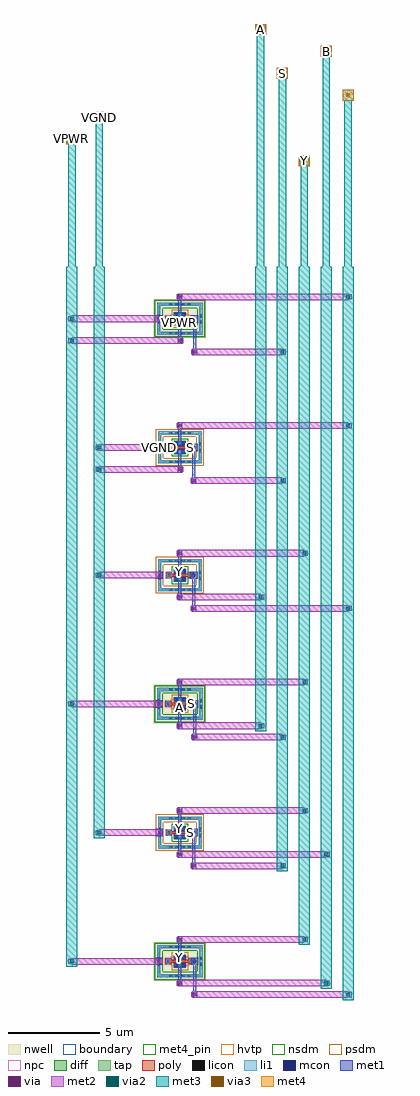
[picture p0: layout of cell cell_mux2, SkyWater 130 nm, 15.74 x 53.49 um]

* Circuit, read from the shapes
.subckt cell_mux2 A B S SB VGND VPWR Y
XM1 Y S B VGND sky130_fd_pr__nfet_01v8 w=0.65 l=0.15
XM2 Y SB A VGND sky130_fd_pr__nfet_01v8 w=0.65 l=0.15
XM3 SB S VGND VGND sky130_fd_pr__nfet_01v8 w=0.65 l=0.15
XM4 Y SB B VPWR sky130_fd_pr__pfet_01v8_hvt w=0.65 l=0.15
XM5 Y S A VPWR sky130_fd_pr__pfet_01v8_hvt w=0.65 l=0.15
XM6 SB S VPWR VPWR sky130_fd_pr__pfet_01v8_hvt w=0.65 l=0.15
.ends

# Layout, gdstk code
import gdstk
lib = gdstk.Library(unit=1e-6, precision=1e-09)
def R(c, l, rs):  # rectangles x0, y0, x1, y1
    for r in rs: c.add(gdstk.rectangle(r[:2], r[2:], *l))
def A(c, l, x, y, w, h, nx, ny, dx, dy):  # array of equal rectangles
    R(c, l, [(x+i*dx, y+j*dy, x+i*dx+w, y+j*dy+h) for i in range(nx) for j in range(ny)])
nwell = (64, 20)
diff = (65, 20)
tap = (65, 44)
poly = (66, 20)
licon = (66, 44)
li1 = (67, 20)
mcon = (67, 44)
met1 = (68, 20)
via = (68, 44)
met2 = (69, 20)
via2 = (69, 44)
met3 = (70, 20)
via3 = (70, 44)
met4_pin = (71, 16)
met4 = (71, 20)
hvtp = (78, 44)
nsdm = (93, 44)
psdm = (94, 20)
npc = (95, 20)
boundary = (235, 4)

cell_mux2 = lib.new_cell('cell_mux2')
R(cell_mux2, nwell, [(14.8,11.065,17.64,13.175), (14.8,25.175,17.64,27.285), (14.8,46.285,17.64,48.395)])
A(cell_mux2, diff, 15.895, 11.755, 0.65, 0.73, 1, 4, 0, 7.055)
R(cell_mux2, diff, [(15.895,39.92,16.545,40.65), (15.895,46.975,16.545,47.705)])
R(cell_mux2, tap, [(14.98,11.245,15.15,12.995), (15.15,11.245,17.29,11.415), (17.29,11.245,17.46,12.995), (15.15,12.825,17.29,12.995), (15.025,18.3,15.195,20.05), (15.195,18.3,17.245,18.47), (17.245,18.3,17.415,20.05), (15.195,19.88,17.245,20.05), (14.98,25.355,15.15,27.105), (15.15,25.355,17.29,25.525), (17.29,25.355,17.46,27.105), (15.15,26.935,17.29,27.105), (15.025,32.41,15.195,34.16), (15.195,32.41,17.245,32.58), (17.245,32.41,17.415,34.16), (15.195,33.99,17.245,34.16), (15.025,39.41,15.195,41.16), (15.195,39.41,17.245,39.58), (17.245,39.41,17.415,41.16), (15.195,40.99,17.245,41.16), (14.98,46.465,15.15,48.215), (15.15,46.465,17.29,46.635), (17.29,46.465,17.46,48.215), (15.15,48.045,17.29,48.215)])
R(cell_mux2, poly, [(15.41,11.955,15.74,12.285), (16.7,11.955,17.03,12.285), (15.74,12.045,16.7,12.195), (15.455,19.01,15.785,19.34), (16.655,19.01,16.985,19.34), (15.785,19.1,16.655,19.25), (15.41,26.065,15.74,26.395), (16.7,26.065,17.03,26.395), (15.74,26.155,16.7,26.305), (15.455,33.12,15.785,33.45), (16.655,33.12,16.985,33.45), (15.785,33.21,16.655,33.36), (15.455,40.12,15.785,40.45), (16.655,40.12,16.985,40.45), (15.785,40.21,16.655,40.36), (15.41,47.175,15.74,47.505), (16.7,47.175,17.03,47.505), (15.74,47.265,16.7,47.415)])
A(cell_mux2, licon, 15.625, 11.245, 0.17, 0.17, 4, 2, 0.34, 1.58)
A(cell_mux2, licon, 15.625, 18.3, 0.17, 0.17, 4, 2, 0.34, 1.58)
A(cell_mux2, licon, 15.625, 25.355, 0.17, 0.17, 4, 2, 0.34, 1.58)
A(cell_mux2, licon, 15.625, 32.41, 0.17, 0.17, 4, 2, 0.34, 1.58)
A(cell_mux2, licon, 15.625, 39.41, 0.17, 0.17, 4, 2, 0.34, 1.58)
A(cell_mux2, licon, 15.625, 46.465, 0.17, 0.17, 4, 2, 0.34, 1.58)
R(cell_mux2, licon, [(15.965,11.815,16.135,11.985), (16.305,11.815,16.475,11.985), (14.98,11.865,15.15,12.035), (17.29,11.865,17.46,12.035), (15.49,12.035,15.66,12.205), (16.78,12.035,16.95,12.205), (14.98,12.205,15.15,12.375), (17.29,12.205,17.46,12.375), (15.965,12.255,16.135,12.425), (16.305,12.255,16.475,12.425), (15.965,18.87,16.135,19.04), (16.305,18.87,16.475,19.04), (15.025,18.92,15.195,19.09), (17.245,18.92,17.415,19.09), (15.535,19.09,15.705,19.26), (16.735,19.09,16.905,19.26), (15.025,19.26,15.195,19.43), (17.245,19.26,17.415,19.43), (15.965,19.31,16.135,19.48), (16.305,19.31,16.475,19.48), (15.965,25.925,16.135,26.095), (16.305,25.925,16.475,26.095), (14.98,25.975,15.15,26.145), (17.29,25.975,17.46,26.145), (15.49,26.145,15.66,26.315), (16.78,26.145,16.95,26.315), (14.98,26.315,15.15,26.485), (17.29,26.315,17.46,26.485), (15.965,26.365,16.135,26.535), (16.305,26.365,16.475,26.535), (15.965,32.98,16.135,33.15), (16.305,32.98,16.475,33.15), (15.025,33.03,15.195,33.2), (17.245,33.03,17.415,33.2), (15.535,33.2,15.705,33.37), (16.735,33.2,16.905,33.37), (15.025,33.37,15.195,33.54), (17.245,33.37,17.415,33.54), (15.965,33.42,16.135,33.59), (16.305,33.42,16.475,33.59), (15.965,39.98,16.135,40.15), (16.305,39.98,16.475,40.15), (15.025,40.03,15.195,40.2), (17.245,40.03,17.415,40.2), (15.535,40.2,15.705,40.37), (16.735,40.2,16.905,40.37), (15.025,40.37,15.195,40.54), (17.245,40.37,17.415,40.54), (15.965,40.42,16.135,40.59), (16.305,40.42,16.475,40.59), (15.965,47.035,16.135,47.205), (16.305,47.035,16.475,47.205), (14.98,47.085,15.15,47.255), (17.29,47.085,17.46,47.255), (15.49,47.255,15.66,47.425), (16.78,47.255,16.95,47.425), (14.98,47.425,15.15,47.595), (17.29,47.425,17.46,47.595), (15.965,47.475,16.135,47.645), (16.305,47.475,16.475,47.645)])
R(cell_mux2, li1, [(14.98,11.245,15.15,12.995), (15.15,11.245,17.29,11.415), (17.29,11.245,17.46,12.995), (15.875,11.815,16.565,11.985), (15.49,11.955,15.66,12.285), (16.78,11.955,16.95,12.285), (16.78,12.035,17.12,12.205), (15.875,12.255,16.565,12.425), (15.15,12.825,17.29,12.995), (15.025,18.3,15.195,20.05), (15.195,18.3,17.245,18.47), (17.245,18.3,17.415,20.05), (15.875,18.87,16.565,19.04), (15.535,19.01,15.705,19.34), (16.735,19.01,16.905,19.34), (16.735,19.09,17.075,19.26), (15.875,19.31,16.565,19.48), (15.195,19.88,17.245,20.05), (14.98,25.355,15.15,27.105), (15.15,25.355,17.29,25.525), (17.29,25.355,17.46,27.105), (15.875,25.925,16.565,26.095), (15.49,26.065,15.66,26.395), (16.78,26.065,16.95,26.395), (16.78,26.145,17.12,26.315), (15.875,26.365,16.565,26.535), (15.15,26.935,17.29,27.105), (15.025,32.41,15.195,34.16), (15.195,32.41,17.245,32.58), (17.245,32.41,17.415,34.16), (15.875,32.98,16.565,33.15), (15.535,33.12,15.705,33.45), (16.735,33.12,16.905,33.45), (16.735,33.2,17.075,33.37), (15.875,33.42,16.565,33.59), (15.195,33.99,17.245,34.16), (15.025,39.41,15.195,41.16), (15.195,39.41,17.245,39.58), (17.245,39.41,17.415,41.16), (15.875,39.98,16.565,40.15), (15.535,40.12,15.705,40.45), (16.735,40.12,16.905,40.45), (16.735,40.2,17.075,40.37), (15.875,40.42,16.565,40.59), (15.195,40.99,17.245,41.16), (14.98,46.465,15.15,48.215), (15.15,46.465,17.29,46.635), (17.29,46.465,17.46,48.215), (15.875,47.035,16.565,47.205), (15.49,47.175,15.66,47.505), (16.78,47.175,16.95,47.505), (16.78,47.255,17.12,47.425), (15.875,47.475,16.565,47.645), (15.15,48.045,17.29,48.215)])
R(cell_mux2, mcon, [(15.955,11.815,16.125,11.985), (16.315,11.815,16.485,11.985), (14.98,12.035,15.15,12.205), (16.95,12.035,17.12,12.205), (15.955,12.255,16.125,12.425), (16.315,12.255,16.485,12.425), (15.955,18.87,16.125,19.04), (16.315,18.87,16.485,19.04), (15.025,19.09,15.195,19.26), (16.905,19.09,17.075,19.26), (15.955,19.31,16.125,19.48), (16.315,19.31,16.485,19.48), (15.955,25.925,16.125,26.095), (16.315,25.925,16.485,26.095), (14.98,26.145,15.15,26.315), (16.95,26.145,17.12,26.315), (15.955,26.365,16.125,26.535), (16.315,26.365,16.485,26.535), (15.955,32.98,16.125,33.15), (16.315,32.98,16.485,33.15), (15.025,33.2,15.195,33.37), (16.905,33.2,17.075,33.37), (15.955,33.42,16.125,33.59), (16.315,33.42,16.485,33.59), (15.955,39.98,16.125,40.15), (16.315,39.98,16.485,40.15), (15.025,40.2,15.195,40.37), (16.905,40.2,17.075,40.37), (15.955,40.42,16.125,40.59), (16.315,40.42,16.485,40.59), (15.955,47.035,16.125,47.205), (16.315,47.035,16.485,47.205), (14.98,47.255,15.15,47.425), (16.95,47.255,17.12,47.425), (15.955,47.475,16.125,47.645), (16.315,47.475,16.485,47.645)])
R(cell_mux2, met1, [(16.905,10.12,17.165,10.48), (16.95,10.3,17.12,12.12), (16.09,10.74,16.35,11.1), (16.135,10.92,16.305,11.9), (15.895,11.785,16.545,12.015), (14.865,11.92,15.265,12.32), (16.835,11.92,17.235,12.32), (14.935,11.94,15.195,12.3), (15.895,12.225,16.545,12.455), (16.135,12.34,16.305,13.32), (16.09,13.14,16.35,13.5), (16.86,17.175,17.12,17.535), (16.905,17.355,17.075,19.175), (16.09,17.795,16.35,18.155), (16.135,17.975,16.305,18.955), (15.895,18.84,16.545,19.07), (14.91,18.975,15.31,19.375), (16.79,18.975,17.19,19.375), (14.98,18.995,15.24,19.355), (15.895,19.28,16.545,19.51), (16.135,19.395,16.305,20.375), (16.09,20.195,16.35,20.555), (16.905,24.23,17.165,24.59), (16.95,24.41,17.12,26.23), (16.09,24.85,16.35,25.21), (16.135,25.03,16.305,26.01), (15.895,25.895,16.545,26.125), (14.865,26.03,15.265,26.43), (16.835,26.03,17.235,26.43), (14.935,26.05,15.195,26.41), (15.895,26.335,16.545,26.565), (16.135,26.45,16.305,27.43), (16.09,27.25,16.35,27.61), (16.86,31.285,17.12,31.645), (16.905,31.465,17.075,33.285), (16.09,31.905,16.35,32.265), (16.135,32.085,16.305,33.065), (15.895,32.95,16.545,33.18), (14.91,33.085,15.31,33.485), (16.79,33.085,17.19,33.485), (14.98,33.105,15.24,33.465), (15.895,33.39,16.545,33.62), (16.135,33.505,16.305,34.485), (16.09,34.305,16.35,34.665), (16.86,38.285,17.12,38.645), (16.905,38.465,17.075,40.285), (16.09,38.905,16.35,39.265), (16.135,39.085,16.305,40.065), (15.895,39.95,16.545,40.18), (14.91,40.085,15.31,40.485), (16.79,40.085,17.19,40.485), (14.98,40.105,15.24,40.465), (15.895,40.39,16.545,40.62), (16.135,40.505,16.305,41.485), (16.09,41.305,16.35,41.665), (16.905,45.34,17.165,45.7), (16.95,45.52,17.12,47.34), (16.09,45.96,16.35,46.32), (16.135,46.14,16.305,47.12), (15.895,47.005,16.545,47.235), (14.865,47.14,15.265,47.54), (16.835,47.14,17.235,47.54), (14.935,47.16,15.195,47.52), (15.895,47.445,16.545,47.675), (16.135,47.56,16.305,48.54), (16.09,48.36,16.35,48.72)])
R(cell_mux2, via, [(16.96,10.225,17.11,10.375), (16.145,10.845,16.295,10.995), (14.99,12.045,15.14,12.195), (16.145,13.245,16.295,13.395), (16.915,17.28,17.065,17.43), (16.145,17.9,16.295,18.05), (15.035,19.1,15.185,19.25), (16.145,20.3,16.295,20.45), (16.96,24.335,17.11,24.485), (16.145,24.955,16.295,25.105), (14.99,26.155,15.14,26.305), (16.145,27.355,16.295,27.505), (16.915,31.39,17.065,31.54), (16.145,32.01,16.295,32.16), (15.035,33.21,15.185,33.36), (16.145,34.41,16.295,34.56), (16.915,38.39,17.065,38.54), (16.145,39.01,16.295,39.16), (15.035,40.21,15.185,40.36), (16.145,41.41,16.295,41.56), (16.96,45.445,17.11,45.595), (16.145,46.065,16.295,46.215), (14.99,47.265,15.14,47.415), (16.145,48.465,16.295,48.615)])
A(cell_mux2, met2, 16.22, 13.14, 6.82, 0.36, 1, 4, 0, 7.055)
A(cell_mux2, met2, 22.85, 13.18, 0.38, 0.28, 1, 4, 0, 7.055)
R(cell_mux2, met2, [(17.035,10.12,25.44,10.48), (25.25,10.16,25.63,10.44), (16.855,10.17,17.215,10.43), (16.22,10.74,24.24,11.1), (24.05,10.78,24.43,11.06), (16.04,10.79,16.4,11.05), (10.3,11.94,15.065,12.3), (10.11,11.98,10.49,12.26), (14.885,11.99,15.245,12.25), (16.04,13.19,16.4,13.45), (16.99,17.175,21.84,17.535), (21.65,17.215,22.03,17.495), (16.81,17.225,17.17,17.485), (16.22,17.795,24.24,18.155), (24.05,17.835,24.43,18.115), (16.04,17.845,16.4,18.105), (11.8,18.995,15.11,19.355), (11.61,19.035,11.99,19.315), (14.93,19.045,15.29,19.305), (16.04,20.245,16.4,20.505), (17.035,24.23,21.84,24.59), (21.65,24.27,22.03,24.55), (16.855,24.28,17.215,24.54), (16.22,24.85,20.64,25.21), (20.45,24.89,20.83,25.17), (16.04,24.9,16.4,25.16), (10.3,26.05,15.065,26.41), (10.11,26.09,10.49,26.37), (14.885,26.1,15.245,26.36), (16.04,27.3,16.4,27.56), (16.99,31.285,25.44,31.645), (25.25,31.325,25.63,31.605), (16.81,31.335,17.17,31.595), (16.22,31.905,20.64,32.265), (20.45,31.945,20.83,32.225), (16.04,31.955,16.4,32.215), (11.8,33.105,15.11,33.465), (11.61,33.145,11.99,33.425), (14.93,33.155,15.29,33.415), (16.04,34.355,16.4,34.615), (16.99,38.285,21.84,38.645), (21.65,38.325,22.03,38.605), (16.81,38.335,17.17,38.595), (11.8,38.905,16.22,39.265), (11.61,38.945,11.99,39.225), (16.04,38.955,16.4,39.215), (11.8,40.105,15.11,40.465), (11.61,40.145,11.99,40.425), (14.93,40.155,15.29,40.415), (16.22,41.305,25.44,41.665), (25.25,41.345,25.63,41.625), (16.04,41.355,16.4,41.615), (17.035,45.34,21.84,45.7), (21.65,45.38,22.03,45.66), (16.855,45.39,17.215,45.65), (10.3,45.96,16.22,46.32), (10.11,46,10.49,46.28), (16.04,46.01,16.4,46.27), (10.3,47.16,15.065,47.52), (10.11,47.2,10.49,47.48), (14.885,47.21,15.245,47.47), (16.22,48.36,25.44,48.72), (25.25,48.4,25.63,48.68), (16.04,48.41,16.4,48.67)])
A(cell_mux2, via2, 22.94, 13.22, 0.2, 0.2, 1, 4, 0, 7.055)
R(cell_mux2, via2, [(25.34,10.2,25.54,10.4), (24.14,10.82,24.34,11.02), (10.2,12.02,10.4,12.22), (21.74,17.255,21.94,17.455), (24.14,17.875,24.34,18.075), (11.7,19.075,11.9,19.275), (21.74,24.31,21.94,24.51), (20.54,24.93,20.74,25.13), (10.2,26.13,10.4,26.33), (25.34,31.365,25.54,31.565), (20.54,31.985,20.74,32.185), (11.7,33.185,11.9,33.385), (21.74,38.365,21.94,38.565), (11.7,38.985,11.9,39.185), (11.7,40.185,11.9,40.385), (25.34,41.385,25.54,41.585), (21.74,45.42,21.94,45.62), (10.2,46.04,10.4,46.24), (10.2,47.24,10.4,47.44), (25.34,48.44,25.54,48.64)])
A(cell_mux2, met3, 22.79, 13.07, 0.5, 0.5, 1, 4, 0, 7.055)
R(cell_mux2, met3, [(25.14,10,25.74,50.195), (25.19,10.05,25.69,10.55), (23.94,10.62,24.54,50.195), (23.99,10.67,24.49,11.17), (10,11.82,10.6,50.195), (10.05,11.87,10.55,12.37), (22.74,13.02,23.34,50.195), (21.54,17.055,22.14,50.195), (21.59,17.105,22.09,17.605), (23.99,17.725,24.49,18.225), (11.5,18.875,12.1,50.195), (11.55,18.925,12.05,19.425), (21.59,24.16,22.09,24.66), (20.34,24.73,20.94,50.195), (20.39,24.78,20.89,25.28), (10.05,25.98,10.55,26.48), (25.19,31.215,25.69,31.715), (20.39,31.835,20.89,32.335), (11.55,33.035,12.05,33.535), (21.59,38.215,22.09,38.715), (11.55,38.835,12.05,39.335), (11.55,40.035,12.05,40.535), (25.19,41.235,25.69,41.735), (21.59,45.27,22.09,45.77), (10.05,45.89,10.55,46.39), (10.05,47.09,10.55,47.59), (25.19,48.29,25.69,48.79), (22.74,55.695,23.34,56.295), (10,56.895,10.6,57.495), (11.5,58.095,12.1,58.695), (25.14,59.295,25.74,59.895), (21.54,60.495,22.14,61.095), (23.94,61.695,24.54,62.295), (20.34,62.895,20.94,63.495)])
R(cell_mux2, via3, [(22.94,55.895,23.14,56.095), (10.2,57.095,10.4,57.295), (11.7,58.295,11.9,58.495), (25.34,59.495,25.54,59.695), (21.74,60.695,21.94,60.895), (24.14,61.895,24.34,62.095), (20.54,63.095,20.74,63.295)])
R(cell_mux2, met4_pin, [(22.79,55.745,23.29,56.245), (10.05,56.945,10.55,57.445), (11.55,58.145,12.05,58.645), (21.59,60.545,22.09,61.045), (23.99,61.745,24.49,62.245), (20.39,62.945,20.89,63.445)])
R(cell_mux2, met4, [(22.74,55.695,23.34,56.295), (22.74,55.745,23.34,56.245), (10,56.895,10.6,57.495), (10,56.945,10.6,57.445), (11.5,58.095,12.1,58.695), (11.5,58.145,12.1,58.645), (25.14,59.295,25.74,59.895), (25.14,59.345,25.74,59.845), (21.54,60.495,22.14,61.095), (21.54,60.545,22.14,61.045), (23.94,61.695,24.54,62.295), (23.94,61.745,24.54,62.245), (20.34,62.895,20.94,63.495), (20.34,62.945,20.94,63.445)])
R(cell_mux2, hvtp, [(15.715,11.865,16.725,12.375), (15.715,25.975,16.725,26.485), (15.715,47.085,16.725,47.595)])
R(cell_mux2, nsdm, [(14.855,11.12,15.275,13.12), (15.275,11.12,17.165,11.54), (17.165,11.12,17.585,13.12), (15.275,12.7,17.165,13.12), (15.77,18.685,16.67,19.665), (14.855,25.23,15.275,27.23), (15.275,25.23,17.165,25.65), (17.165,25.23,17.585,27.23), (15.275,26.81,17.165,27.23), (15.77,32.795,16.67,33.775), (15.77,39.795,16.67,40.775), (14.855,46.34,15.275,48.34), (15.275,46.34,17.165,46.76), (17.165,46.34,17.585,48.34), (15.275,47.92,17.165,48.34)])
R(cell_mux2, psdm, [(15.77,11.63,16.67,12.61), (14.9,18.175,15.32,20.175), (15.32,18.175,17.12,18.595), (17.12,18.175,17.54,20.175), (15.32,19.755,17.12,20.175), (15.77,25.74,16.67,26.72), (14.9,32.285,15.32,34.285), (15.32,32.285,17.12,32.705), (17.12,32.285,17.54,34.285), (15.32,33.865,17.12,34.285), (14.9,39.285,15.32,41.285), (15.32,39.285,17.12,39.705), (17.12,39.285,17.54,41.285), (15.32,40.865,17.12,41.285), (15.77,46.85,16.67,47.83)])
R(cell_mux2, npc, [(15.39,11.935,15.76,12.305), (16.68,11.935,17.05,12.305), (15.435,18.99,15.805,19.36), (16.635,18.99,17.005,19.36), (15.39,26.045,15.76,26.415), (16.68,26.045,17.05,26.415), (15.435,33.1,15.805,33.47), (16.635,33.1,17.005,33.47), (15.435,40.1,15.805,40.47), (16.635,40.1,17.005,40.47), (15.39,47.155,15.76,47.525), (16.68,47.155,17.05,47.525)])
R(cell_mux2, boundary, [(15.065,11.33,17.375,12.91), (15.11,18.385,17.33,19.965), (15.065,25.44,17.375,27.02), (15.11,32.495,17.33,34.075), (15.11,39.495,17.33,41.075), (15.065,46.55,17.375,48.13)])
cell_mux2.add(gdstk.FlexPath([(10.3,57.195),(10.3,50.195)], 0.4, ends="flush", simple_path=True, layer=70, datatype=20))  # met3
cell_mux2.add(gdstk.FlexPath([(25.44,59.595),(25.44,50.195)], 0.4, ends="flush", simple_path=True, layer=70, datatype=20))  # met3
cell_mux2.add(gdstk.FlexPath([(23.04,55.995),(23.04,50.195)], 0.4, ends="flush", simple_path=True, layer=70, datatype=20))  # met3
cell_mux2.add(gdstk.FlexPath([(24.24,61.995),(24.24,50.195)], 0.4, ends="flush", simple_path=True, layer=70, datatype=20))  # met3
cell_mux2.add(gdstk.FlexPath([(11.8,58.395),(11.8,50.195)], 0.4, ends="flush", simple_path=True, layer=70, datatype=20))  # met3
cell_mux2.add(gdstk.FlexPath([(21.84,60.795),(21.84,50.195)], 0.4, ends="flush", simple_path=True, layer=70, datatype=20))  # met3
cell_mux2.add(gdstk.FlexPath([(20.64,63.195),(20.64,50.195)], 0.4, ends="flush", simple_path=True, layer=70, datatype=20))  # met3
cell_mux2.add(gdstk.Label('VGND', (15.11,40.285), layer=67, texttype=5))
cell_mux2.add(gdstk.Label('VPWR', (16.22,47.12), layer=67, texttype=5))
cell_mux2.add(gdstk.Label('Y', (16.22,33.505), layer=67, texttype=5))
cell_mux2.add(gdstk.Label('SB', (16.22,47.56), layer=67, texttype=5))
cell_mux2.add(gdstk.Label('S', (16.865,26.23), layer=67, texttype=5))
cell_mux2.add(gdstk.Label('S', (16.865,47.34), layer=67, texttype=5))
cell_mux2.add(gdstk.Label('A', (16.22,26.01), layer=67, texttype=5))
cell_mux2.add(gdstk.Label('A', (16.22,33.065), layer=67, texttype=5))
cell_mux2.add(gdstk.Label('VPWR', (15.065,47.34), layer=67, texttype=5))
cell_mux2.add(gdstk.Label('Y', (16.22,19.395), layer=67, texttype=5))
cell_mux2.add(gdstk.Label('B', (16.22,18.955), layer=67, texttype=5))
cell_mux2.add(gdstk.Label('VPWR', (15.065,26.23), layer=67, texttype=5))
cell_mux2.add(gdstk.Label('Y', (16.22,12.34), layer=67, texttype=5))
cell_mux2.add(gdstk.Label('VGND', (15.11,33.285), layer=67, texttype=5))
cell_mux2.add(gdstk.Label('S', (16.82,19.175), layer=67, texttype=5))
cell_mux2.add(gdstk.Label('VGND', (15.11,19.175), layer=67, texttype=5))
cell_mux2.add(gdstk.Label('B', (16.22,11.9), layer=67, texttype=5))
cell_mux2.add(gdstk.Label('SB', (16.82,33.285), layer=67, texttype=5))
cell_mux2.add(gdstk.Label('Y', (16.22,26.45), layer=67, texttype=5))
cell_mux2.add(gdstk.Label('SB', (16.22,40.505), layer=67, texttype=5))
cell_mux2.add(gdstk.Label('S', (16.82,40.285), layer=67, texttype=5))
cell_mux2.add(gdstk.Label('VPWR', (15.065,12.12), layer=67, texttype=5))
cell_mux2.add(gdstk.Label('SB', (16.865,12.12), layer=67, texttype=5))
cell_mux2.add(gdstk.Label('VGND', (16.22,40.065), layer=67, texttype=5))
cell_mux2.add(gdstk.Label('Y', (23.04,55.995), layer=71, texttype=5))
cell_mux2.add(gdstk.Label('VPWR', (10.3,57.195), layer=71, texttype=5))
cell_mux2.add(gdstk.Label('VGND', (11.8,58.395), layer=71, texttype=5))
cell_mux2.add(gdstk.Label('B', (24.24,61.995), layer=71, texttype=5))
cell_mux2.add(gdstk.Label('S', (21.84,60.795), layer=71, texttype=5))
cell_mux2.add(gdstk.Label('A', (20.64,63.195), layer=71, texttype=5))

lib.write_gds('cell_mux2.gds')
